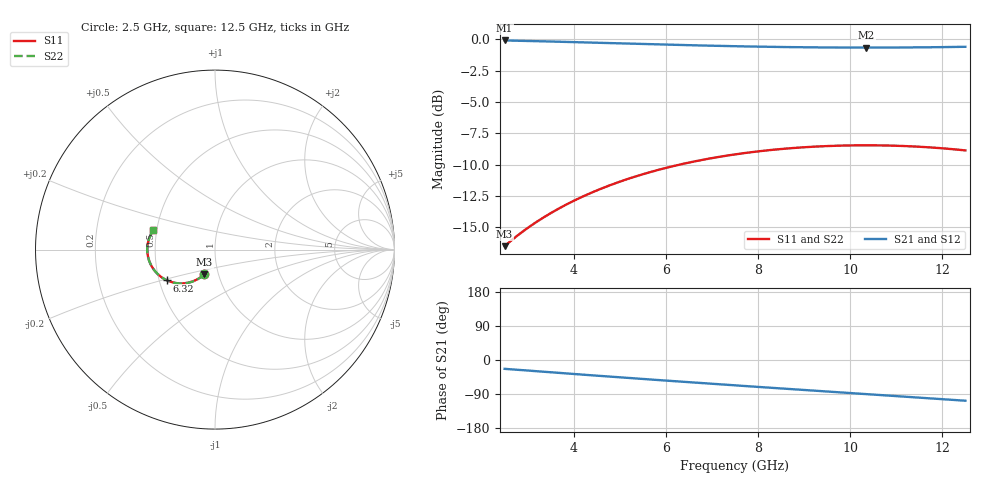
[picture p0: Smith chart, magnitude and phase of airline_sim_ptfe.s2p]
! TOUCHSTONE file generated by CST MICROWAVE STUDIO
! Date and time: Fri Apr 21 18:09:45 2023
! Project name: airline_sim.cst
! Header version: 2018
! Port assignment regex: !\s*Touchstone port\s*([0-9]+)\s*=\s*(CST MWS port|CST DS port)\s*([0-9]+|Zmin|Zmax)\s*\(\"(.*)\"\)(\s*mode\s*([0-9]+))?.*
! Touchstone port assignment:
! Touchstone port 1 = CST MWS port 1 ("")
! Touchstone port 2 = CST MWS port 2 ("")
# GHz S MA R 50
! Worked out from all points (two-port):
!   1001 points, 2.5 GHz to 12.5 GHz, reference 50 ohm
!   highest |S21| = -0.10 dB at 2.5 GHz (marker M1); lowest = -0.7 dB at 10.35 GHz (marker M2)
!   |S21| within 3 dB of the highest: start of sweep to end of sweep
!   lowest |S11| = -16.5 dB at 2.5 GHz (marker M3), VSWR 1.35, Z = 42.8 - j12 ohm
!   |S11| at or under -10 dB: start of sweep to 6.308 GHz
!   |S22| runs from -16.5 to -8.5 dB; largest |S21 - S12| = 3.1e-07
!   S11 on the Smith chart (normalised r, x): 2.5 GHz: 0.86, -0.24; 6.32 GHz: 0.55, -0.21; 12.5 GHz: 0.48, +0.12
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2.5  0.1493 -113.4  0.9887 -23.3  0.9887 -23.3  0.1493 -113.2
2.55  0.1521 -113.9  0.9883 -23.8  0.9883 -23.8  0.1521 -113.6
2.93  0.1728 -117.4  0.9849 -27.2  0.9849 -27.2  0.1728 -117.1
3.3  0.1921 -120.7  0.9813 -30.6  0.9813 -30.6  0.1921 -120.5
3.72  0.2131 -124.5  0.977 -34.4  0.977 -34.4  0.2131 -124.3
4.17  0.2344 -128.5  0.9721 -38.4  0.9721 -38.4  0.2344 -128.3
4.56  0.2518 -131.9  0.9677 -41.9  0.9677 -41.9  0.2518 -131.8
4.96  0.2685 -135.4  0.9632 -45.4  0.9632 -45.4  0.2685 -135.3
5.4  0.2856 -139.2  0.9583 -49.2  0.9583 -49.2  0.2856 -139.1
5.84  0.3012 -143.0  0.9535 -53.0  0.9535 -53.0  0.3012 -142.9
6.32  0.3166 -147.1  0.9485 -57.0  0.9485 -57.0  0.3166 -147.0
6.91  0.3332 -152.0  0.9428 -62.0  0.9428 -62.0  0.3332 -152.0
7.5  0.3471 -156.9  0.9377 -66.9  0.9377 -66.9  0.3471 -156.9
7.91  0.3552 -160.3  0.9347 -70.3  0.9347 -70.3  0.3552 -160.2
8.33  0.3622 -163.7  0.932 -73.7  0.932 -73.7  0.3622 -163.7
9.17  0.3722 -170.5  0.928 -80.5  0.928 -80.5  0.3722 -170.5
9.76  0.3761 -175.3  0.9264 -85.3  0.9264 -85.3  0.3761 -175.3
10.35  0.3773 179.9  0.9259 -90.1  0.9259 -90.1  0.3773 179.9
10.84  0.3764 176.0  0.9263 -94.0  0.9263 -94.0  0.3764 176.0
11.66  0.3709 169.4  0.9285 -100.6  0.9285 -100.6  0.3709 169.4
12.45  0.3607 163.0  0.9325 -107.1  0.9325 -107.1  0.3607 162.9
12.5  0.3599 162.6  0.9328 -107.5  0.9328 -107.5  0.3599 162.5
